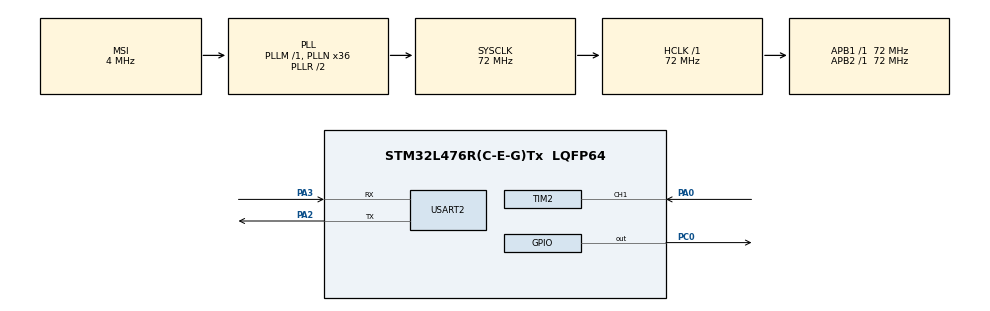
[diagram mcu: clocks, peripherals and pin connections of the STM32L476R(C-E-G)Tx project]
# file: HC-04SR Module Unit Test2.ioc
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Mcu.Family=STM32L4
Mcu.Name=STM32L476R(C-E-G)Tx
Mcu.Package=LQFP64
NVIC.PriorityGroup=NVIC_PRIORITYGROUP_4
NVIC.TIM2_IRQn=true\:0\:0\:false\:false\:true\:true\:true\:true
PA0.Signal=S_TIM2_CH1
PA2.Mode=Asynchronous
PA2.Signal=USART2_TX
PA3.Mode=Asynchronous
PA3.Signal=USART2_RX
PC0.Signal=GPIO_Output
ProjectManager.HeapSize=0x200
ProjectManager.StackSize=0x400
ProjectManager.TargetToolchain=STM32CubeIDE
RCC.AHBFreq_Value=72000000
RCC.APB1Freq_Value=72000000
RCC.APB1TimFreq_Value=72000000
RCC.APB2Freq_Value=72000000
RCC.APB2TimFreq_Value=72000000
RCC.CortexFreq_Value=72000000
RCC.HCLKFreq_Value=72000000
RCC.HSE_VALUE=8000000
RCC.HSI_VALUE=16000000
RCC.LSE_VALUE=32768
RCC.MSI_VALUE=4000000
RCC.PLLN=36
RCC.SYSCLKFreq_VALUE=72000000
RCC.SYSCLKSource=RCC_SYSCLKSOURCE_PLLCLK
RCC.VCOOutputFreq_Value=144000000
SH.S_TIM2_CH1.0=TIM2_CH1,Input_Capture1_from_TI1
TIM2.Channel-Input_Capture1_from_TI1=TIM_CHANNEL_1
TIM2.Prescaler=72-1
TIM6.Prescaler=72-1
USART2.VirtualMode-Asynchronous=VM_ASYNC
VP_TIM6_VS_ClockSourceINT.Mode=Enable_Timer
board=custom

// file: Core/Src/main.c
/* USER CODE BEGIN Header */
/**
  ******************************************************************************
  * @file           : main.c
  * @brief          : Main program body
  ******************************************************************************
  * @attention
  *
  * Copyright (c) 2024 STMicroelectronics.
  * All rights reserved.
  *
  * This software is licensed under terms that can be found in the LICENSE file
  * in the root directory of this software component.
  * If no LICENSE file comes with this software, it is provided AS-IS.
  *
  ******************************************************************************
  */
/* USER CODE END Header */
#include "main.h"

/* USER CODE BEGIN Includes */
#include "stdio.h"

/* USER CODE END Includes */

/* USER CODE BEGIN PTD */
#define TRIG_PIN GPIO_PIN_0
#define TRIG_PORT GPIOC

/* USER CODE END PTD */

TIM_HandleTypeDef htim2;
TIM_HandleTypeDef htim6;

UART_HandleTypeDef huart2;

/* USER CODE BEGIN PV */

char MSG[25] = {0};
uint32_t IC_Val1 = 0;
uint32_t IC_Val2 = 0;
uint32_t Difference = 0;
uint8_t Is_First_Captured = 0;  // is the first value captured ?
float Distance  = 0.0;

/* USER CODE END PV */

void SystemClock_Config(void);
static void MX_GPIO_Init(void);
static void MX_TIM2_Init(void);
static void MX_USART2_UART_Init(void);
static void MX_TIM6_Init(void);
/* USER CODE BEGIN PFP */
void HAL_TIM_IC_CaptureCallback(TIM_HandleTypeDef *htim);
void HCSR04_Read(void);
void delay_us(uint16_t);

/* USER CODE END PFP */

int main(void)
{

  /* MCU Configuration--------------------------------------------------------*/

  /* Reset of all peripherals, Initializes the Flash interface and the Systick. */
  HAL_Init();

  /* Configure the system clock */
  SystemClock_Config();

  /* Initialize all configured peripherals */
  MX_GPIO_Init();
  MX_TIM2_Init();
  MX_USART2_UART_Init();
  MX_TIM6_Init();
  /* USER CODE BEGIN 2 */

  HAL_TIM_Base_Start(&htim6);
  HAL_TIM_IC_Start_IT(&htim2, TIM_CHANNEL_1);

  /* USER CODE END 2 */

  /* Infinite loop */
  while (1)
  {

    /* USER CODE BEGIN 3 */

	HCSR04_Read();

	sprintf(MSG, "%f cm\r\n", Distance);

	HAL_UART_Transmit(&huart2, MSG, sizeof(MSG), 100);

	HAL_Delay(20);
  }
  /* USER CODE END 3 */
}

void SystemClock_Config(void)
{
  RCC_OscInitTypeDef RCC_OscInitStruct = {0};
  RCC_ClkInitTypeDef RCC_ClkInitStruct = {0};

  /** Configure the main internal regulator output voltage
  */
  if (HAL_PWREx_ControlVoltageScaling(PWR_REGULATOR_VOLTAGE_SCALE1) != HAL_OK)
  {
    Error_Handler();
  }

  /** Initializes the RCC Oscillators according to the specified parameters
  * in the RCC_OscInitTypeDef structure.
  */
  RCC_OscInitStruct.OscillatorType = RCC_OSCILLATORTYPE_MSI;
  RCC_OscInitStruct.MSIState = RCC_MSI_ON;
  RCC_OscInitStruct.MSICalibrationValue = 0;
  RCC_OscInitStruct.MSIClockRange = RCC_MSIRANGE_6;
  RCC_OscInitStruct.PLL.PLLState = RCC_PLL_ON;
  RCC_OscInitStruct.PLL.PLLSource = RCC_PLLSOURCE_MSI;
  RCC_OscInitStruct.PLL.PLLM = 1;
  RCC_OscInitStruct.PLL.PLLN = 36;
  RCC_OscInitStruct.PLL.PLLP = RCC_PLLP_DIV7;
  RCC_OscInitStruct.PLL.PLLQ = RCC_PLLQ_DIV2;
  RCC_OscInitStruct.PLL.PLLR = RCC_PLLR_DIV2;
  if (HAL_RCC_OscConfig(&RCC_OscInitStruct) != HAL_OK)
  {
    Error_Handler();
  }

  /** Initializes the CPU, AHB and APB buses clocks
  */
  RCC_ClkInitStruct.ClockType = RCC_CLOCKTYPE_HCLK|RCC_CLOCKTYPE_SYSCLK
                              |RCC_CLOCKTYPE_PCLK1|RCC_CLOCKTYPE_PCLK2;
  RCC_ClkInitStruct.SYSCLKSource = RCC_SYSCLKSOURCE_PLLCLK;
  RCC_ClkInitStruct.AHBCLKDivider = RCC_SYSCLK_DIV1;
  RCC_ClkInitStruct.APB1CLKDivider = RCC_HCLK_DIV1;
  RCC_ClkInitStruct.APB2CLKDivider = RCC_HCLK_DIV1;

  if (HAL_RCC_ClockConfig(&RCC_ClkInitStruct, FLASH_LATENCY_4) != HAL_OK)
  {
    Error_Handler();
  }
}

static void MX_TIM2_Init(void)
{

  TIM_MasterConfigTypeDef sMasterConfig = {0};
  TIM_IC_InitTypeDef sConfigIC = {0};

  htim2.Instance = TIM2;
  htim2.Init.Prescaler = 72-1;
  htim2.Init.CounterMode = TIM_COUNTERMODE_UP;
  htim2.Init.Period = 4294967295;
  htim2.Init.ClockDivision = TIM_CLOCKDIVISION_DIV1;
  htim2.Init.AutoReloadPreload = TIM_AUTORELOAD_PRELOAD_DISABLE;
  if (HAL_TIM_IC_Init(&htim2) != HAL_OK)
  {
    Error_Handler();
  }
  sMasterConfig.MasterOutputTrigger = TIM_TRGO_RESET;
  sMasterConfig.MasterSlaveMode = TIM_MASTERSLAVEMODE_DISABLE;
  if (HAL_TIMEx_MasterConfigSynchronization(&htim2, &sMasterConfig) != HAL_OK)
  {
    Error_Handler();
  }
  sConfigIC.ICPolarity = TIM_INPUTCHANNELPOLARITY_RISING;
  sConfigIC.ICSelection = TIM_ICSELECTION_DIRECTTI;
  sConfigIC.ICPrescaler = TIM_ICPSC_DIV1;
  sConfigIC.ICFilter = 0;
  if (HAL_TIM_IC_ConfigChannel(&htim2, &sConfigIC, TIM_CHANNEL_1) != HAL_OK)
  {
    Error_Handler();
  }

}

static void MX_TIM6_Init(void)
{

  TIM_MasterConfigTypeDef sMasterConfig = {0};

  htim6.Instance = TIM6;
  htim6.Init.Prescaler = 72-1;
  htim6.Init.CounterMode = TIM_COUNTERMODE_UP;
  htim6.Init.Period = 65535;
  htim6.Init.AutoReloadPreload = TIM_AUTORELOAD_PRELOAD_DISABLE;
  if (HAL_TIM_Base_Init(&htim6) != HAL_OK)
  {
    Error_Handler();
  }
  sMasterConfig.MasterOutputTrigger = TIM_TRGO_RESET;
  sMasterConfig.MasterSlaveMode = TIM_MASTERSLAVEMODE_DISABLE;
  if (HAL_TIMEx_MasterConfigSynchronization(&htim6, &sMasterConfig) != HAL_OK)
  {
    Error_Handler();
  }

}

static void MX_USART2_UART_Init(void)
{

  huart2.Instance = USART2;
  huart2.Init.BaudRate = 115200;
  huart2.Init.WordLength = UART_WORDLENGTH_8B;
  huart2.Init.StopBits = UART_STOPBITS_1;
  huart2.Init.Parity = UART_PARITY_NONE;
  huart2.Init.Mode = UART_MODE_TX_RX;
  huart2.Init.HwFlowCtl = UART_HWCONTROL_NONE;
  huart2.Init.OverSampling = UART_OVERSAMPLING_16;
  huart2.Init.OneBitSampling = UART_ONE_BIT_SAMPLE_DISABLE;
  huart2.AdvancedInit.AdvFeatureInit = UART_ADVFEATURE_NO_INIT;
  if (HAL_UART_Init(&huart2) != HAL_OK)
  {
    Error_Handler();
  }

}

static void MX_GPIO_Init(void)
{
  GPIO_InitTypeDef GPIO_InitStruct = {0};

  /* GPIO Ports Clock Enable */
  __HAL_RCC_GPIOC_CLK_ENABLE();
  __HAL_RCC_GPIOA_CLK_ENABLE();

  /*Configure GPIO pin Output Level */
  HAL_GPIO_WritePin(GPIOC, GPIO_PIN_0, GPIO_PIN_RESET);

  /*Configure GPIO pin : PC0 */
  GPIO_InitStruct.Pin = GPIO_PIN_0;
  GPIO_InitStruct.Mode = GPIO_MODE_OUTPUT_PP;
  GPIO_InitStruct.Pull = GPIO_NOPULL;
  GPIO_InitStruct.Speed = GPIO_SPEED_FREQ_LOW;
  HAL_GPIO_Init(GPIOC, &GPIO_InitStruct);

}

/* USER CODE BEGIN 4 */

// Let's write the callback function

void HAL_TIM_IC_CaptureCallback(TIM_HandleTypeDef *htim)
{
	if (htim->Channel == HAL_TIM_ACTIVE_CHANNEL_1)  // if the interrupt source is channel1
	{
		if (Is_First_Captured==0) // if the first value is not captured
		{
			IC_Val1 = HAL_TIM_ReadCapturedValue(htim, TIM_CHANNEL_1); // read the first value
			Is_First_Captured = 1;  // set the first captured as true
			// Now change the polarity to falling edge
			__HAL_TIM_SET_CAPTUREPOLARITY(htim, TIM_CHANNEL_1, TIM_INPUTCHANNELPOLARITY_FALLING);
		}

		else if (Is_First_Captured==1)   // if the first is already captured
		{
			IC_Val2 = HAL_TIM_ReadCapturedValue(htim, TIM_CHANNEL_1);  // read second value
			__HAL_TIM_SET_COUNTER(htim, 0);  // reset the counter

			if (IC_Val2 > IC_Val1)
			{
				Difference = IC_Val2-IC_Val1;
			}

			else if (IC_Val1 > IC_Val2)
			{
				Difference = (0xffff - IC_Val1) + IC_Val2;
			}

			Distance = Difference * .034/2;
			Is_First_Captured = 0; // set it back to false

			// set polarity to rising edge
			__HAL_TIM_SET_CAPTUREPOLARITY(htim, TIM_CHANNEL_1, TIM_INPUTCHANNELPOLARITY_RISING);
			__HAL_TIM_DISABLE_IT(&htim2, TIM_IT_CC1);
		}
	}
}

void HCSR04_Read(void)
{
	HAL_GPIO_WritePin(TRIG_PORT, TRIG_PIN, GPIO_PIN_SET);  // pull the TRIG pin HIGH
	delay_us(3);  // wait for 10 us (minimum trig pulse is 2us)
	HAL_GPIO_WritePin(TRIG_PORT, TRIG_PIN, GPIO_PIN_RESET);  // pull the TRIG pin low

	__HAL_TIM_ENABLE_IT(&htim2, TIM_IT_CC1);
}

void delay_us(uint16_t delay){
	__HAL_TIM_SET_COUNTER(&htim6,0); // or set the CNT directly : TIM6->CNT = 0;
	while (__HAL_TIM_GET_COUNTER(&htim6) < delay); // or : while (TIM6->CNT < delay);
}

/* USER CODE END 4 */

void Error_Handler(void)
{
  __disable_irq();
  while (1)
  {
  }
}
